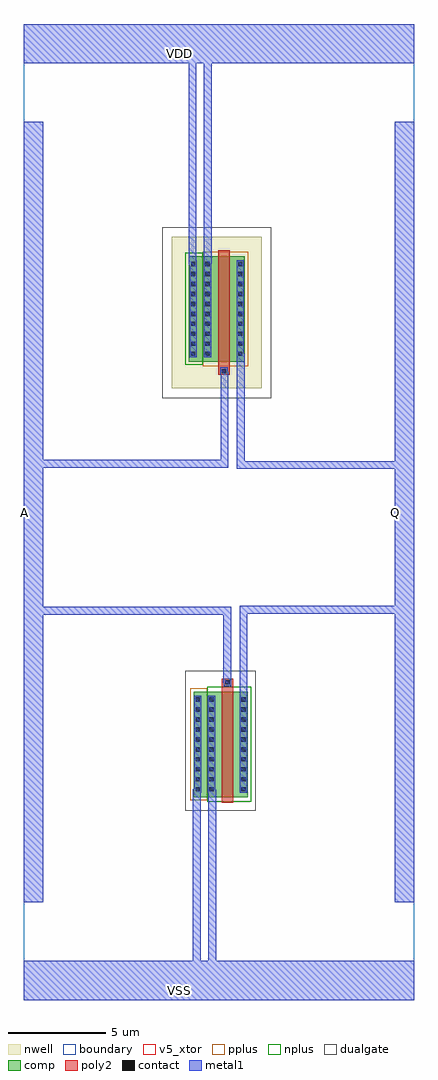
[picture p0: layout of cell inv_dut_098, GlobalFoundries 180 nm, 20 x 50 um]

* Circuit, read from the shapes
.subckt inv_dut_098 A Q VDD VSS
XM1 Q A VSS VSS nfet_05v0 w=5.4u l=0.6u
XM2 Q A VDD VDD pfet_05v0 w=5.4u l=0.6u
.ends

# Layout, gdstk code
from math import pi, radians
import gdstk
lib = gdstk.Library(unit=1e-6, precision=1e-09)
def R(c, l, rs):  # rectangles x0, y0, x1, y1
    for r in rs: c.add(gdstk.rectangle(r[:2], r[2:], *l))
def A(c, l, x, y, w, h, nx, ny, dx, dy):  # array of equal rectangles
    R(c, l, [(x+i*dx, y+j*dy, x+i*dx+w, y+j*dy+h) for i in range(nx) for j in range(ny)])
boundary = (0, 0)
nwell = (21, 0)
comp = (22, 0)
poly2 = (30, 0)
pplus = (31, 0)
nplus = (32, 0)
contact = (33, 0)
metal1 = (34, 0)
dualgate = (55, 0)
v5_xtor = (112, 1)

nfet = lib.new_cell('nfet')
R(nfet, comp, [(-0.42,0,2.35,5.4)])
R(nfet, poly2, [(0.31,-0.3,0.91,6.06)])
R(nfet, pplus, [(1.64,-0.17,2.52,5.57)])
R(nfet, nplus, [(-0.59,-0.24,1.64,5.64)])
A(nfet, contact, -0.32, 0.295, 0.22, 0.22, 1, 10, 0, 0.51)
A(nfet, contact, 1.32, 0.295, 0.22, 0.22, 1, 10, 0, 0.51)
A(nfet, contact, 2.03, 0.295, 0.22, 0.22, 1, 10, 0, 0.51)
R(nfet, contact, [(0.5,5.77,0.72,5.99)])
R(nfet, metal1, [(-0.4,0.215,-0.02,5.185), (1.24,0.215,1.62,5.185), (1.95,0.215,2.33,5.185), (0.42,5.69,0.8,6.07)])
R(nfet, dualgate, [(-0.84,-0.71,2.77,6.48)])
R(nfet, v5_xtor, [(-0.84,-0.71,2.77,6.48)])

pfet = lib.new_cell('pfet')
R(pfet, nwell, [(-1.32,-1.37,3.27,6.39)])
R(pfet, comp, [(-0.46,0,2.41,5.4)])
R(pfet, poly2, [(0.31,-0.68,0.91,5.7)])
R(pfet, pplus, [(-0.63,-0.24,1.68,5.64)])
R(pfet, nplus, [(1.68,-0.17,2.58,5.57)])
A(pfet, contact, -0.34, 0.295, 0.22, 0.22, 1, 10, 0, 0.51)
A(pfet, contact, 1.34, 0.295, 0.22, 0.22, 1, 10, 0, 0.51)
A(pfet, contact, 2.07, 0.295, 0.22, 0.22, 1, 10, 0, 0.51)
R(pfet, contact, [(0.5,-0.6,0.72,-0.38)])
R(pfet, metal1, [(0.42,-0.68,0.8,-0.3), (-0.42,0.215,-0.04,5.185), (1.26,0.215,1.64,5.185), (1.99,0.215,2.37,5.185)])
R(pfet, dualgate, [(-1.82,-1.87,3.77,6.89)])
R(pfet, v5_xtor, [(-1.82,-1.87,3.77,6.89)])

inv_dut_098 = lib.new_cell('inv_dut_098')
R(inv_dut_098, boundary, [(-10,-25,10,25)])
R(inv_dut_098, metal1, [(-10,-25,10,-23), (-10,-20,-9,20), (9,-20,10,20), (-10,23,10,25)])
inv_dut_098.add(gdstk.FlexPath([(-1.355,12.65),(-1.355,23.415),(-1.43,23.415)], 0.4, ends="flush", simple_path=True, layer=34, datatype=0))  # metal1
inv_dut_098.add(gdstk.FlexPath([(-0.57,12.715),(-0.57,23.475)], 0.4, ends="flush", simple_path=True, layer=34, datatype=0))  # metal1
inv_dut_098.add(gdstk.FlexPath([(0.28,7.195),(0.28,2.465),(-9.49,2.465)], 0.4, ends="flush", simple_path=True, layer=34, datatype=0))  # metal1
inv_dut_098.add(gdstk.FlexPath([(1.11,8.095),(1.11,2.405),(9.465,2.405)], 0.4, ends="flush", simple_path=True, layer=34, datatype=0))  # metal1
inv_dut_098.add(gdstk.FlexPath([(0.42,-8.755),(0.42,-5.055),(-9.365,-5.055)], 0.4, ends="flush", simple_path=True, layer=34, datatype=0))  # metal1
inv_dut_098.add(gdstk.FlexPath([(1.26,-9.625),(1.26,-5.015),(9.465,-5.015)], 0.4, ends="flush", simple_path=True, layer=34, datatype=0))  # metal1
inv_dut_098.add(gdstk.FlexPath([(-1.135,-14.195),(-1.135,-23.505)], 0.4, ends="flush", simple_path=True, layer=34, datatype=0))  # metal1
inv_dut_098.add(gdstk.FlexPath([(-0.345,-14.23),(-0.345,-23.475)], 0.4, ends="flush", simple_path=True, layer=34, datatype=0))  # metal1
inv_dut_098.add(gdstk.Reference(nfet, (1.05,-14.605), rotation=pi, x_reflection=True))
inv_dut_098.add(gdstk.Reference(pfet, (0.86,7.705), rotation=pi, x_reflection=True))
inv_dut_098.add(gdstk.Label('VDD', (-2,23.5), layer=34, texttype=10))
inv_dut_098.add(gdstk.Label('VSS', (-2,-24.5), layer=34, texttype=10))
inv_dut_098.add(gdstk.Label('A', (-9.97,0), layer=34, texttype=10))
inv_dut_098.add(gdstk.Label('Q', (9.03,0), layer=34, texttype=10))

lib.write_gds('inv_dut_098.gds')
